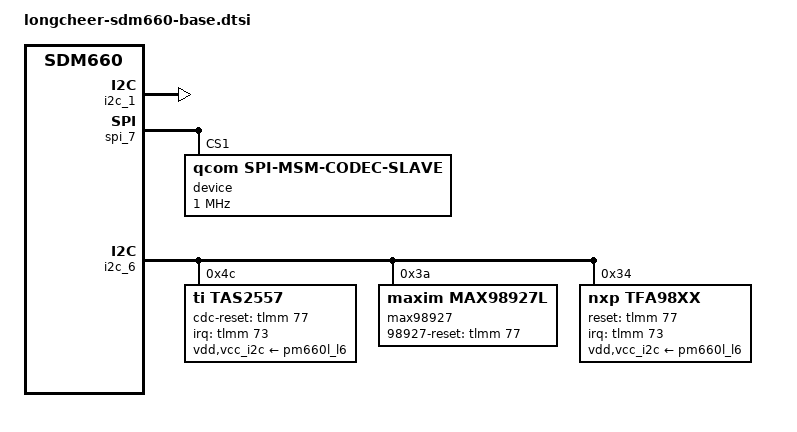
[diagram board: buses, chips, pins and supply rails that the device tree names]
// SPDX-License-Identifier: GPL-2.0-only

#include "longcheer-pm660.dtsi"
#include "longcheer-sdm660-camera.dtsi"
#include "longcheer-sdm660-mdss.dtsi"
#include "longcheer-sdm660-mtp.dtsi"
#include "longcheer-sdm660-ramoops.dtsi"

/* sdm660.dtsi common diff */
&soc {
	/delete-node/ qcom,qbt1000;

	sn_fuse: snfuse@0xA4128 {
		compatible = "qcom,sn-fuse";
		reg = <0x786134 0x4>,
			<0x78607C 0x4>;
		reg-names = "sn-base","fuse-state";
	};
};

&qcom_seecom {
	qcom,qsee-reentrancy-support = <0>;
};

/* sdm660-blsp.dtsi common diff */
&i2c_1 {
	status = "ok";
};

&spi_7 {
	status = "ok";

	device@1 {
		compatible = "qcom,spi-msm-codec-slave";
		#address-cells = <1>;
		#size-cells = <1>;
		reg = <1>; /* Chip select 0 */
		spi-max-frequency = <1000000>;
		spi-cpol;
	};
};

/* sdm660-internal-codec.dtsi common diff */
&int_codec {
	qcom,wsa-disable;
};

&i2c_6 { /* SmartPA TI */
	status = "ok";
	tas2557@4c {
		status = "ok";
		compatible = "ti,tas2557";
		reg = <0x4c>;
		#ti,load = <0>;   /* 0, 8Ohm; 1, 6Ohm; 2, 4Ohm */
		#ti,channel = <0>;   /* 0, left channel; 1, right channel */
		i2c-pull-up;
		vdd-supply = <&pm660l_l6>;
		vcc_i2c-supply = <&pm660l_l6>;
		ti,cdc-reset-gpio = <&tlmm 77 0>;
		ti,irq-gpio = <&tlmm 73 0>;
		ti,i2s-bits = <16>;
	};

	max98927@3a {
		status = "ok";
		compatible = "maxim,max98927L";
		reg = <0x3a>;
		mono_stereo_mode = <0>;
		interleave_mode = <0>;
		maxim,98927-reset-gpio = <&tlmm 77 0>;
	};

 	tfa98xx@34 {
		status = "ok";
		compatible = "nxp,tfa98xx";
		reg = <0x34>;
		i2c-pull-up;
		vdd-supply = <&pm660l_l6>;
		vcc_i2c-supply = <&pm660l_l6>;
		reset-gpio = <&tlmm 77 0>;
		irq-gpio = <&tlmm 73 0>;
	};
};

/* sdm660-regulator common diff */
&rpm_bus {
	rpm-regulator-ldoa16 {
		status = "ok";
		pm660_l16: regulator-l16 {
			status = "ok";
			regulator-min-microvolt = <2800000>;
			regulator-max-microvolt = <2800000>;
			regulator-always-on;
		};
	};
};

&pm660l_l3 {
	regulator-always-on;
};
